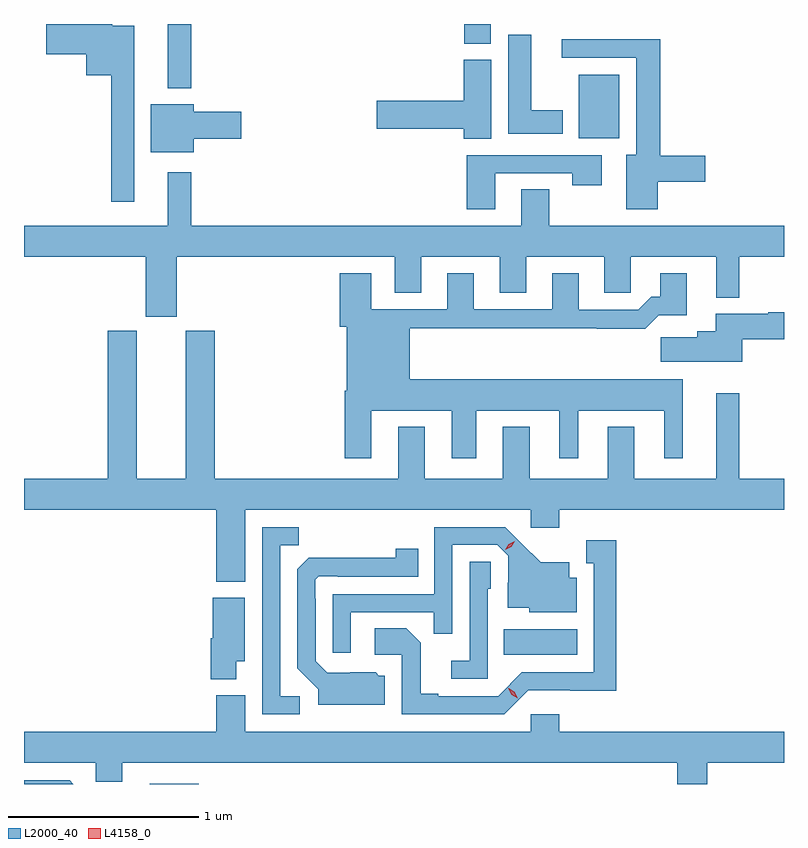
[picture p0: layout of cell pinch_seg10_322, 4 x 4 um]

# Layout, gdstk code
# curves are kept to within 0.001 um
import gdstk
lib = gdstk.Library(unit=1e-6, precision=1e-09)
def R(c, l, rs):  # rectangles x0, y0, x1, y1
    for r in rs: c.add(gdstk.rectangle(r[:2], r[2:], *l))
def P(c, l, *ps):  # polygons
    for p in ps: c.add(gdstk.Polygon(p, *l))
L2000_40 = (2000, 40)
L4158_0 = (4158, 0)

pinch_seg10_322 = lib.new_cell('pinch_seg10_322')
R(pinch_seg10_322, L2000_40, [(398.574,1274.897,398.831,1274.898), (400.438,1275.578,400.825,1275.712), (400.832,1278.296,401.044,1278.631), (398.669,1278.56,398.791,1278.897), (400.229,1278.793,400.369,1278.897)])
P(pinch_seg10_322, L2000_40, [(398.491,1278.889),(398.376,1278.889),(398.376,1278.897),(398.028,1278.897),(398.028,1278.737),(398.24,1278.737),(398.24,1278.626),(398.37,1278.626),(398.37,1277.961),(398.491,1277.961)],
  [(400.747,1278.442),(400.582,1278.442),(400.582,1278.841),(400.46,1278.841),(400.46,1278.32),(400.747,1278.32)],
  [(401.248,1278.068),(401.497,1278.068),(401.497,1278.203),(401.261,1278.203),(401.261,1278.818),(400.743,1278.818),(400.743,1278.72),(401.135,1278.72),(401.135,1278.208),(401.081,1278.208),(401.081,1277.922),(401.248,1277.922)],
  [(400.372,1278.708),(400.226,1278.708),(400.226,1278.494),(399.768,1278.494),(399.768,1278.347),(400.226,1278.347),(400.226,1278.292),(400.372,1278.292)],
  [(398.806,1278.292),(399.055,1278.292),(399.055,1278.434),(398.806,1278.434),(398.806,1278.475),(398.579,1278.475),(398.579,1278.221),(398.806,1278.221)],
  [(400.393,1278.111),(400.798,1278.111),(400.798,1278.048),(400.954,1278.048),(400.954,1278.207),(400.241,1278.207),(400.241,1277.922),(400.393,1277.922)],
  [(398.716,1277.672),(399.863,1277.672),(399.863,1277.482),(400.003,1277.482),(400.003,1277.672),(400.415,1277.672),(400.415,1277.482),(400.555,1277.482),(400.555,1277.672),(400.967,1277.672),(400.967,1277.482),(401.106,1277.482),(401.106,1277.672),(401.555,1277.672),(401.555,1277.456),(401.677,1277.456),(401.677,1277.672),(401.912,1277.672),(401.912,1277.836),(400.677,1277.836),(400.677,1278.026),(400.529,1278.026),(400.529,1277.836),(398.791,1277.836),(398.791,1278.118),(398.669,1278.118),(398.669,1277.836),(397.912,1277.836),(397.912,1277.672),(398.552,1277.672),(398.552,1277.355),(398.716,1277.355)],
  [(399.739,1276.862),(400.163,1276.862),(400.163,1276.611),(400.291,1276.611),(400.291,1276.862),(400.73,1276.862),(400.73,1276.611),(400.828,1276.611),(400.828,1276.862),(401.282,1276.862),(401.282,1276.611),(401.38,1276.611),(401.38,1277.026),(399.943,1277.026),(399.943,1277.296),(400.927,1277.296),(400.927,1277.294),(401.183,1277.294),(401.252,1277.363),(401.401,1277.363),(401.401,1277.584),(401.261,1277.584),(401.261,1277.461),(401.212,1277.461),(401.145,1277.394),(400.831,1277.394),(400.831,1277.584),(400.691,1277.584),(400.691,1277.397),(400.279,1277.397),(400.279,1277.584),(400.139,1277.584),(400.139,1277.397),(399.739,1277.397),(399.739,1277.584),(399.575,1277.584),(399.575,1277.304),(399.611,1277.304),(399.611,1276.966),(399.599,1276.966),(399.599,1276.611),(399.739,1276.611)],
  [(401.692,1277.237),(401.912,1277.237),(401.912,1277.379),(401.828,1277.379),(401.828,1277.371),(401.552,1277.371),(401.552,1277.281),(401.456,1277.281),(401.456,1277.249),(401.262,1277.249),(401.262,1277.12),(401.692,1277.12)],
  [(401.912,1276.504),(401.677,1276.504),(401.677,1276.954),(401.555,1276.954),(401.555,1276.504),(401.125,1276.504),(401.125,1276.777),(400.985,1276.777),(400.985,1276.504),(400.573,1276.504),(400.573,1276.777),(400.433,1276.777),(400.433,1276.504),(400.021,1276.504),(400.021,1276.777),(399.881,1276.777),(399.881,1276.504),(398.915,1276.504),(398.915,1277.283),(398.762,1277.283),(398.762,1276.504),(398.506,1276.504),(398.506,1277.283),(398.354,1277.283),(398.354,1276.504),(397.912,1276.504),(397.912,1276.34),(398.924,1276.34),(398.924,1275.962),(399.076,1275.962),(399.076,1276.34),(400.578,1276.34),(400.578,1276.245),(400.73,1276.245),(400.73,1276.34),(401.912,1276.34)],
  [(399.364,1275.36),(399.261,1275.36),(399.261,1276.153),(399.357,1276.153),(399.357,1276.248),(399.165,1276.248),(399.165,1275.264),(399.364,1275.264)],
  [(399.633,1275.801),(400.069,1275.801),(400.069,1275.688),(400.167,1275.688),(400.167,1276.155),(400.404,1276.155),(400.461,1276.098),(400.461,1275.956),(400.457,1275.956),(400.457,1275.824),(400.572,1275.824),(400.572,1275.8),(400.822,1275.8),(400.822,1275.982),(400.783,1275.982),(400.783,1276.063),(400.631,1276.063),(400.444,1276.248),(400.071,1276.248),(400.071,1275.897),(399.537,1275.897),(399.537,1275.588),(399.633,1275.588)],
  [(400.566,1275.39),(401.029,1275.389),(401.029,1276.18),(400.871,1276.18),(400.871,1276.059),(400.91,1276.059),(400.91,1275.486),(400.533,1275.486),(400.407,1275.36),(400.093,1275.36),(400.093,1275.373),(399.999,1275.373),(399.999,1275.64),(399.923,1275.716),(399.759,1275.716),(399.759,1275.576),(399.9,1275.576),(399.9,1275.264),(400.44,1275.264)],
  [(399.811,1275.468),(399.78,1275.468),(399.764,1275.484),(399.507,1275.483),(399.447,1275.543),(399.447,1275.872),(399.444,1275.872),(399.444,1275.972),(399.462,1275.99),(399.562,1275.99),(399.562,1275.987),(399.986,1275.987),(399.986,1276.135),(399.868,1276.135),(399.868,1276.088),(399.41,1276.087),(399.351,1276.028),(399.351,1275.506),(399.461,1275.396),(399.461,1275.314),(399.811,1275.314)],
  [(400.353,1275.924),(400.368,1275.924),(400.368,1276.067),(400.257,1276.067),(400.257,1275.547),(400.161,1275.547),(400.161,1275.45),(400.353,1275.45)],
  [(399.028,1275.542),(399.073,1275.542),(399.073,1275.877),(398.906,1275.877),(398.906,1275.663),(398.894,1275.663),(398.894,1275.449),(399.028,1275.449)],
  [(401.507,1275.008),(401.912,1275.008),(401.912,1275.172),(400.73,1275.172),(400.73,1275.265),(400.578,1275.265),(400.578,1275.172),(399.076,1275.172),(399.076,1275.364),(398.924,1275.364),(398.924,1275.172),(397.912,1275.172),(397.912,1275.008),(398.289,1275.008),(398.289,1274.91),(398.428,1274.91),(398.428,1275.008),(401.351,1275.008),(401.351,1274.897),(401.507,1274.897)],
  [(398.152,1274.916),(397.912,1274.916),(397.912,1274.897),(398.171,1274.897)])
P(pinch_seg10_322, L4158_0, [(400.51,1275.349),(400.478,1275.368),(400.461,1275.401),(400.461,1275.401),(400.462,1275.401),(400.493,1275.382),(400.51,1275.349),(400.51,1275.349)],
  [(400.445,1276.13),(400.445,1276.131),(400.463,1276.16),(400.494,1276.174),(400.494,1276.174),(400.494,1276.174),(400.476,1276.145),(400.446,1276.13)])

lib.write_gds('pinch_seg10_322.gds')
